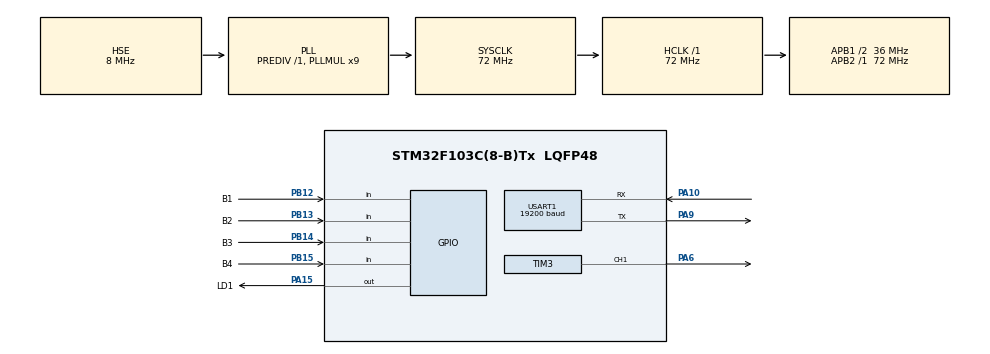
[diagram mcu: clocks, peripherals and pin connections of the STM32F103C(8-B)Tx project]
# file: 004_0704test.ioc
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Mcu.Family=STM32F1
Mcu.Name=STM32F103C(8-B)Tx
Mcu.Package=LQFP48
NVIC.PriorityGroup=NVIC_PRIORITYGROUP_4
NVIC.RTC_Alarm_IRQn=true\:0\:0\:false\:false\:true\:true\:true\:true
NVIC.RTC_IRQn=true\:0\:0\:false\:false\:true\:true\:true\:true
NVIC.TIM3_IRQn=true\:0\:0\:false\:false\:true\:true\:true\:true
NVIC.USART1_IRQn=true\:0\:0\:false\:false\:true\:true\:true\:true
PA10.Mode=Asynchronous
PA10.Signal=USART1_RX
PA15.GPIO_Label=LD1
PA15.Signal=GPIO_Output
PA6.Signal=S_TIM3_CH1
PA9.Mode=Asynchronous
PA9.Signal=USART1_TX
PB12.GPIO_Label=B1
PB12.GPIO_PuPd=GPIO_PULLUP
PB12.Signal=GPIO_Input
PB13.GPIO_Label=B2
PB13.GPIO_PuPd=GPIO_PULLUP
PB13.Signal=GPIO_Input
PB14.GPIO_Label=B3
PB14.GPIO_PuPd=GPIO_PULLUP
PB14.Signal=GPIO_Input
PB15.GPIO_Label=B4
PB15.GPIO_PuPd=GPIO_PULLUP
PB15.Signal=GPIO_Input
PC14-OSC32_IN.Mode=LSE-External-Oscillator
PC14-OSC32_IN.Signal=RCC_OSC32_IN
PC15-OSC32_OUT.Mode=LSE-External-Oscillator
PC15-OSC32_OUT.Signal=RCC_OSC32_OUT
PD0-OSC_IN.Mode=HSE-External-Oscillator
PD0-OSC_IN.Signal=RCC_OSC_IN
PD1-OSC_OUT.Mode=HSE-External-Oscillator
PD1-OSC_OUT.Signal=RCC_OSC_OUT
ProjectManager.HeapSize=0x200
ProjectManager.StackSize=0x400
ProjectManager.TargetToolchain=Makefile
RCC.AHBFreq_Value=72000000
RCC.APB1CLKDivider=RCC_HCLK_DIV2
RCC.APB1Freq_Value=36000000
RCC.APB1TimFreq_Value=72000000
RCC.APB2Freq_Value=72000000
RCC.APB2TimFreq_Value=72000000
RCC.HCLKFreq_Value=72000000
RCC.PLLMUL=RCC_PLL_MUL9
RCC.PLLSourceVirtual=RCC_PLLSOURCE_HSE
RCC.RTCClockSelection=RCC_RTCCLKSOURCE_LSE
RCC.SYSCLKFreq_VALUE=72000000
RCC.SYSCLKSource=RCC_SYSCLKSOURCE_PLLCLK
RCC.USBFreq_Value=72000000
RTC.AutoPrediv=RTC_AUTO_1_SECOND
SH.S_TIM3_CH1.0=TIM3_CH1,PWM Generation1 CH1
TIM3.Channel-PWM\ Generation1\ CH1=TIM_CHANNEL_1
TIM3.Period=99
TIM3.Prescaler=719
TIM3.Pulse-PWM\ Generation1\ CH1=80
USART1.BaudRate=19200
USART1.VirtualMode=VM_ASYNC
VP_RTC_VS_RTC_Activate.Mode=RTC_Enabled
VP_SYS_VS_ND.Mode=No_Debug
VP_TIM3_VS_ClockSourceINT.Mode=Internal
board=custom

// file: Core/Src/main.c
/* USER CODE BEGIN Header */
/**
 ******************************************************************************
 * @file           : main.c
 * @brief          : Main program body
 ******************************************************************************
 * @attention
 *
 * Copyright (c) 2024 STMicroelectronics.
 * All rights reserved.
 *
 * This software is licensed under terms that can be found in the LICENSE file
 * in the root directory of this software component.
 * If no LICENSE file comes with this software, it is provided AS-IS.
 *
 ******************************************************************************
 */
/* USER CODE END Header */
#include "main.h"
#include "gpio.h"
#include "rtc.h"
#include "stm32f103xb.h"
#include "stm32f1xx_hal.h"
#include "stm32f1xx_hal_gpio.h"
#include "stm32f1xx_hal_rtc.h"
#include "stm32f1xx_hal_tim.h"
#include "stm32f1xx_hal_uart.h"
#include "tim.h"
#include "usart.h"
#include <stdint.h>

void SystemClock_Config(void);

/* USER CODE BEGIN 0 */
#define SENT(data, len) HAL_UART_Transmit(&huart1, (uint8_t *)data, len, 1000)

extern int sprintf(char *, const char *, ...);
extern unsigned int strlen(const char *);
extern void *memcpy(void *, const void *, unsigned int);
extern void *memset(void *, int, unsigned int);

RTC_TimeTypeDef time = {0, 0, 0}, timer[5];

/// current_timer: 当前定时器序号，从 0 到 4
///
/// smh_position: 当前设置模式，0H, 1M, 2S
///
/// states_code:
///   定时器状态，0 待命Standby，1 设置Setting，2 运行Running，3 暂停Pause
uint8_t current_timer = 0, smh_position = 0, states_code[5] = {0};

// 0H, 1M, 2S
uint8_t line1[8] = "\n\n\nNo 0\n", line2[32];
uint8_t states[][15] = {
    "       Standby\n",
    "       Setting\n",
    "       Running\n",
    "       Pause\n",
};

uint8_t rxBuffer[5], tempbuffer[32];

// union data {
//   float value;
//   uint8_t bytes[4];
// } data = {0.0f};

void debug_display() {
  char temp[64];
  sprintf(temp, "current_timer: %d, smh_position: %d, states_code: %d\n",
          current_timer, smh_position, states_code[current_timer]);
  SENT(temp, strlen(temp));

  // SENT(data.bytes, sizeof(data.bytes)); // 打印乱码
}

void update_display() {

  char temp = ' ';

  if (states_code[current_timer] == 1) {
    if (smh_position == 0)
      temp = 'H';
    if (smh_position == 1)
      temp = 'M';
    if (smh_position == 2)
      temp = 'S';
  }

  line1[6] = current_timer + '1';
  SENT(line1, sizeof(line1));
  sprintf((char *)line2, "  %c  %02d : %02d : %02d\n", temp, time.Hours,
          time.Minutes, time.Seconds);
  SENT(line2, strlen((char *)line2));
  SENT(states[states_code[current_timer]], sizeof(*states));
}

void HAL_UART_RxCpltCallback(UART_HandleTypeDef *huart) {
  if (huart->Instance == USART1) {
    if (rxBuffer[0] == 0xAA) {
      if (rxBuffer[1] == 0x01 && states_code[current_timer] == 2) { // 修改时间
        time.Hours = rxBuffer[2];
        time.Minutes = rxBuffer[3];
        time.Seconds = rxBuffer[4];

        memcpy(timer + current_timer, &time, sizeof(time));
        update_display();
      }
    }
  }

  HAL_UART_Receive_IT(huart, rxBuffer, sizeof(rxBuffer));
}

void HAL_RTCEx_RTCEventCallback(RTC_HandleTypeDef *hrtc) {
  if (hrtc->Instance == RTC) { // 秒中断
    if (states_code[current_timer] == 2) {
      if (time.Seconds > 0 || time.Minutes > 0 || time.Hours > 0) {
        if (time.Seconds > 0) {
          time.Seconds--;
        } else {
          if (time.Minutes > 0) {
            time.Minutes--;
            time.Seconds = 59;
          } else {
            if (time.Hours > 0) {
              time.Hours--;
              time.Minutes = 59;
              time.Seconds = 59;
            }
          }
        }
      } else {
        states_code[current_timer] = 0;
        HAL_GPIO_WritePin(GPIOA, LD1_Pin, GPIO_PIN_SET);
      }
    }

    // data.value += 0.01;

    update_display();
  }
}

void time_plus_one() {
  switch (smh_position) {
  case 0:
    time.Hours++;
    break;
  case 1:
    time.Minutes++;
    break;
  case 2:
    time.Seconds++;
    break;
  }

  if (time.Hours > 23)
    time.Hours = 0;
  if (time.Minutes > 59)
    time.Minutes = 0;
  if (time.Seconds > 59)
    time.Seconds = 0;
}

void scan_key() {
  if (!HAL_GPIO_ReadPin(GPIOB, B1_Pin)) {
    HAL_Delay(100);
    if (!HAL_GPIO_ReadPin(GPIOB, B1_Pin) &&
        (states_code[current_timer] == 0 || // can be used in standby mode
         states_code[current_timer] == 3)   // and pause mode
    ) {
      if (current_timer < 4)
        current_timer++;
      else
        current_timer = 0;

      memcpy(&time, timer + current_timer, sizeof(time));
    }

    while (!HAL_GPIO_ReadPin(GPIOB, B1_Pin))
      ; // 防抖

    update_display();
  }

  if (!HAL_GPIO_ReadPin(GPIOB, B2_Pin)) {
    HAL_Delay(100);
    if (!HAL_GPIO_ReadPin(GPIOB, B2_Pin) &&
        states_code[current_timer] == 1 // 确保已在 Setting 模式
    ) {
      if (smh_position < 2)
        smh_position++;
      else
        smh_position = 0;
    } else {
      // 否则进入 Setting 状态
      memcpy(&time, timer + current_timer, sizeof(time));
      states_code[current_timer] = 1;
      HAL_GPIO_WritePin(GPIOA, LD1_Pin, GPIO_PIN_RESET);
    }

    uint32_t tick = HAL_GetTick();
    while (!HAL_GPIO_ReadPin(GPIOB, B2_Pin) && (HAL_GetTick() - tick < 700))
      ;
    if (HAL_GetTick() - tick >= 700) { // 长按
      if (states_code[current_timer] == 1) {
        // 保存并退出 Setting 状态
        memcpy(timer + current_timer, &time, sizeof(time));
        states_code[current_timer] = 0;
      } else {
        // not in setting mode
        // 小问题，不用管
      }
    }

    while (!HAL_GPIO_ReadPin(GPIOB, B2_Pin))
      ; // 防抖

    update_display();
  }

  if (!HAL_GPIO_ReadPin(GPIOB, B3_Pin)) {
    HAL_Delay(100);
    if (states_code[current_timer] == 1) {
      if (!HAL_GPIO_ReadPin(GPIOB, B3_Pin))
        time_plus_one();

      uint32_t tick = HAL_GetTick();
      while (!HAL_GPIO_ReadPin(GPIOB, B3_Pin) && (HAL_GetTick() - tick < 700))
        ; // 检测长按
      if (HAL_GetTick() - tick >= 700) {
        while (!HAL_GPIO_ReadPin(GPIOB, B3_Pin)) {
          time_plus_one();

          HAL_Delay(100);
        }
      }
    } else {
      // if not in setting mode
      // It's a small matter, not important.
    }

    update_display();
  }

  if (!HAL_GPIO_ReadPin(GPIOB, B4_Pin)) { // B4: 启动键
    HAL_Delay(100);
    if (!HAL_GPIO_ReadPin(GPIOB, B4_Pin)) { // 短按
      // todo: 切换定时器状态: All(*) -> Running(2) -> Pause(3)
      smh_position = 0;

      if (states_code[current_timer] == 1) {        // 临时启动
        states_code[current_timer] = 2;             // 直接开润
      } else if (states_code[current_timer] != 2) { // not in running state
        memcpy(&time, timer + current_timer, sizeof(time));
        states_code[current_timer] = 2;
      } else { // 如果运行了(running state): 切换到暂停(pause state)
        states_code[current_timer] = 3;
        memcpy(timer + current_timer, &time, sizeof(time));
      }
    }

    uint32_t tick = HAL_GetTick();
    while (!HAL_GPIO_ReadPin(GPIOB, B4_Pin) && (HAL_GetTick() - tick < 700))
      ;
    if (HAL_GetTick() - tick >= 700) { // 长按
      // 定时器复位，回到 Standby 状态
      states_code[current_timer] = 0;
      smh_position = 0;
      memset(&time, 0, sizeof(time));
      memset(&timer[current_timer], 0, sizeof(timer[current_timer]));
    }

    while (!HAL_GPIO_ReadPin(GPIOB, B4_Pin))
      ;

    update_display();
  }
}

/* USER CODE END 0 */

int main(void) {

  /* MCU
   * Configuration--------------------------------------------------------*/

  /* Reset of all peripherals, Initializes the Flash interface and the
   * Systick.
   */
  HAL_Init();

  /* Configure the system clock */
  SystemClock_Config();

  /* Initialize all configured peripherals */
  MX_GPIO_Init();
  MX_RTC_Init();
  MX_TIM3_Init();
  MX_USART1_UART_Init();
  /* USER CODE BEGIN 2 */

  SENT("Hello\n", 6);
  HAL_TIM_Base_Start_IT(&htim3);
  HAL_TIM_PWM_Start(&htim3, TIM_CHANNEL_1);
  HAL_UART_Receive_IT(&huart1, rxBuffer, sizeof(rxBuffer));

  /* USER CODE END 2 */

  /* Infinite loop */
  /* USER CODE BEGIN WHILE */
  while (1) {
    HAL_Delay(100);
    // debug_display();
    scan_key();
    /* USER CODE END WHILE */

  }
}

void SystemClock_Config(void) {
  RCC_OscInitTypeDef RCC_OscInitStruct = {0};
  RCC_ClkInitTypeDef RCC_ClkInitStruct = {0};
  RCC_PeriphCLKInitTypeDef PeriphClkInit = {0};

  /** Initializes the RCC Oscillators according to the specified parameters
   * in the RCC_OscInitTypeDef structure.
   */
  RCC_OscInitStruct.OscillatorType =
      RCC_OSCILLATORTYPE_HSE | RCC_OSCILLATORTYPE_LSE;
  RCC_OscInitStruct.HSEState = RCC_HSE_ON;
  RCC_OscInitStruct.HSEPredivValue = RCC_HSE_PREDIV_DIV1;
  RCC_OscInitStruct.LSEState = RCC_LSE_ON;
  RCC_OscInitStruct.HSIState = RCC_HSI_ON;
  RCC_OscInitStruct.PLL.PLLState = RCC_PLL_ON;
  RCC_OscInitStruct.PLL.PLLSource = RCC_PLLSOURCE_HSE;
  RCC_OscInitStruct.PLL.PLLMUL = RCC_PLL_MUL9;
  if (HAL_RCC_OscConfig(&RCC_OscInitStruct) != HAL_OK) {
    Error_Handler();
  }

  /** Initializes the CPU, AHB and APB buses clocks
   */
  RCC_ClkInitStruct.ClockType = RCC_CLOCKTYPE_HCLK | RCC_CLOCKTYPE_SYSCLK |
                                RCC_CLOCKTYPE_PCLK1 | RCC_CLOCKTYPE_PCLK2;
  RCC_ClkInitStruct.SYSCLKSource = RCC_SYSCLKSOURCE_PLLCLK;
  RCC_ClkInitStruct.AHBCLKDivider = RCC_SYSCLK_DIV1;
  RCC_ClkInitStruct.APB1CLKDivider = RCC_HCLK_DIV2;
  RCC_ClkInitStruct.APB2CLKDivider = RCC_HCLK_DIV1;

  if (HAL_RCC_ClockConfig(&RCC_ClkInitStruct, FLASH_LATENCY_2) != HAL_OK) {
    Error_Handler();
  }
  PeriphClkInit.PeriphClockSelection = RCC_PERIPHCLK_RTC;
  PeriphClkInit.RTCClockSelection = RCC_RTCCLKSOURCE_LSE;
  if (HAL_RCCEx_PeriphCLKConfig(&PeriphClkInit) != HAL_OK) {
    Error_Handler();
  }
}

void Error_Handler(void) {
  /* USER CODE BEGIN Error_Handler_Debug */
  /* User can add his own implementation to report the HAL error return
   * state
   */
  __disable_irq();
  while (1) {
  }
  /* USER CODE END Error_Handler_Debug */
}

#ifdef USE_FULL_ASSERT
/**
 * @brief  Reports the name of the source file and the source line number
 *         where the assert_param error has occurred.
 * @param  file: pointer to the source file name
 * @param  line: assert_param error line source number
 * @retval None
 */
void assert_failed(uint8_t *file, uint32_t line) {
  /* USER CODE BEGIN 6 */
  /* User can add his own implementation to report the file name and line
     number, ex: printf("Wrong parameters value: file %s on line %d\r\n",
     file, line) */
  /* USER CODE END 6 */
}
#endif /* USE_FULL_ASSERT */
